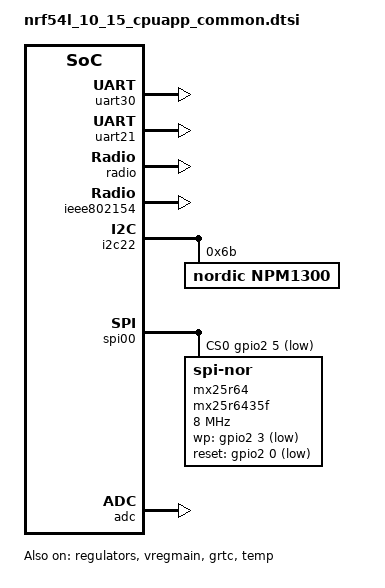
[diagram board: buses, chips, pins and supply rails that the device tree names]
/*
 * Copyright (c) 2024 Nordic Semiconductor ASA
 * Copyright (c) 2025 Ezurio LLC
 *
 * SPDX-License-Identifier: Apache-2.0
 */

/* This file is common to the secure and non-secure domain */

#include "bl54l15_dvk_common.dtsi"

/ {
	chosen {
		zephyr,console = &uart30;
		zephyr,shell-uart = &uart30;
		zephyr,uart-mcumgr = &uart30;
		zephyr,bt-mon-uart = &uart30;
		zephyr,bt-c2h-uart = &uart30;
		zephyr,flash-controller = &rram_controller;
		zephyr,flash = &cpuapp_rram;
		zephyr,ieee802154 = &ieee802154;
	};
};

&cpuapp_sram {
	status = "okay";
};

&lfxo {
	load-capacitors = "internal";
	load-capacitance-femtofarad = <15500>;
};

&hfxo {
	load-capacitors = "internal";
	load-capacitance-femtofarad = <15000>;
};

&regulators {
	status = "okay";
};

&vregmain {
	status = "okay";
	regulator-initial-mode = <NRF5X_REG_MODE_DCDC>;
};

&grtc {
	owned-channels = <0 1 2 3 4 5 6 7 8 9 10 11>;
	/* Channels 7-11 reserved for Zero Latency IRQs, 3-4 for FLPR */
	child-owned-channels = <3 4 7 8 9 10 11>;
	status = "okay";
};

&uart30 {
	status = "okay";
};

&uart21 {
	status = "okay";
};

&gpio0 {
	status = "okay";
};

&gpio1 {
	status = "okay";
};

&gpio2 {
	status = "okay";
};

&gpiote20 {
	status = "okay";
};

&gpiote30 {
	status = "okay";
};

&radio {
	status = "okay";
};

&ieee802154 {
	status = "okay";
};

&temp {
	status = "okay";
};

&clock {
	status = "okay";
};

&i2c22 {
	status = "okay";

	npm1300: npm1300@6b {
		status = "okay";
		compatible = "nordic,npm1300";
		reg = <0x6b>;

		npm1300_charger: charger {
			compatible = "nordic,npm1300-charger";
			vbus-limit-microamp = <500000>;
			thermistor-ohms = <10000>;
			thermistor-beta = <3380>;
			term-microvolt = <4150000>;
			current-microamp = <150000>;
			dischg-limit-microamp = <1000000>;
		};
	};
};

&spi00 {
	status = "okay";
	cs-gpios = <&gpio2 5 GPIO_ACTIVE_LOW>,
		   <&gpio2 9 GPIO_ACTIVE_LOW>; /* shared with LED0 */
	pinctrl-0 = <&spi00_default>;
	pinctrl-1 = <&spi00_sleep>;
	pinctrl-names = "default", "sleep";

	mx25r64: mx25r6435f@0 {
		compatible = "jedec,spi-nor";
		status = "okay";
		reg = <0>;
		spi-max-frequency = <8000000>;
		jedec-id = [c2 28 17];
		sfdp-bfp = [e5 20 f1 ff ff ff ff 03 44 eb 08 6b 08 3b 04 bb
			    ee ff ff ff ff ff 00 ff ff ff 00 ff 0c 20 0f 52
			    10 d8 00 ff 23 72 f5 00 82 ed 04 cc 44 83 48 44
			    30 b0 30 b0 f7 c4 d5 5c 00 be 29 ff f0 d0 ff ff];
		size = <67108864>;
		has-dpd;
		t-enter-dpd = <10000>;
		t-exit-dpd = <35000>;
		wp-gpios = <&gpio2 3 GPIO_ACTIVE_LOW>;
		reset-gpios = <&gpio2 0 GPIO_ACTIVE_LOW>;
	};
};

&adc {
	status = "okay";
};

mikrobus_i2c: &i2c22 {};

mikrobus_spi: &spi00 {};

mikrobus_uart: &uart21 {};
